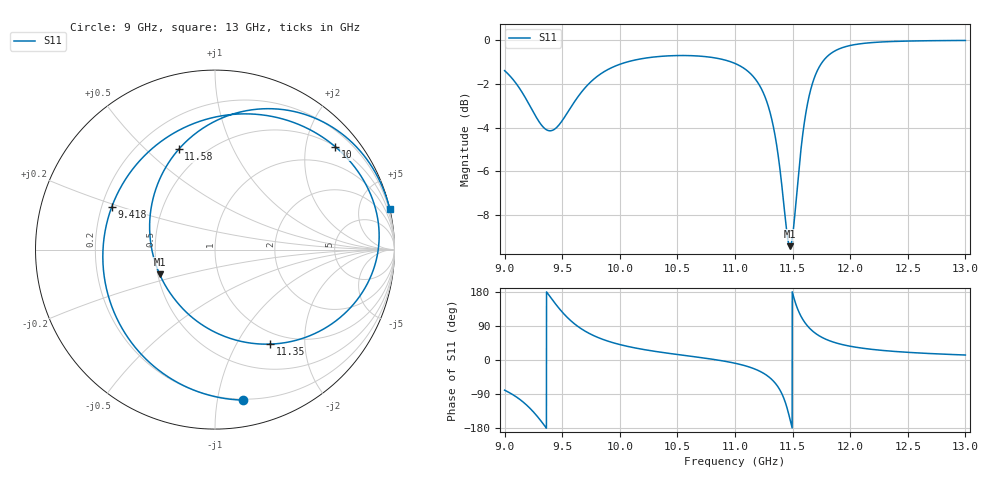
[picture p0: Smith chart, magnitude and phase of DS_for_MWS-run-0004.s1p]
! TOUCHSTONE file generated by CST DESIGN STUDIO
! Date and time: Tue Feb  4 14:21:41 2025
! Project name: C:\Work\MatlabApps\UnitCellOptimizationMatlab\CST\unitcell.cst
! Tree item: Tasks\Sweep1\SPara1\S-Parameters
! Header version: 2024
! Port assignment regex: !\s*Touchstone port\s*([0-9]+)\s*=\s*(CST MWS port|CST DES external port|CST DES block port)\s*(.+)\s* \(\"(.*)\"\)(\s*mode\s*([0-9]+))?.*
! Touchstone port assignment:
! Touchstone port 1 = CST DES external port 1 ("")
# GHz S MA R 50
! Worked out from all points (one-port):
!   4001 points, 9 GHz to 13 GHz, reference 50 ohm
!   lowest |S11| = -9.4 dB at 11.48 GHz (marker M1), VSWR 2.02, Z = 25.6 - j7.98 ohm
!   |S11| at or under -10 dB: nowhere
!   S11 on the Smith chart (normalised r, x): 9 GHz: 0.19, -1.18; 9.418 GHz: 0.24, +0.19; 10 GHz: 0.51, +2.63; 11.35 GHz: 0.83, -1.39; 11.58 GHz: 0.37, +0.64; 13 GHz: 0.03, +8.68
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9  0.8524 -79.6
9.109  0.7906 -98.9
9.201  0.7226 -121.7
9.318  0.6407 -161.8
9.418  0.6226 157.5
9.5  0.6548 126.6
9.584  0.7085 101.1
9.68  0.7684 79.6
9.829  0.8362 57.1
10  0.8813 40.8
10.004  0.8821 40.5
10.22  0.9103 27.0
10.5  0.9229 14.5
11  0.8852 -8.5
11.207  0.7934 -28.4
11.281  0.7172 -41.6
11.346  0.6088 -59.9
11.415  0.4433 -94.5
11.477  0.3378 -155.9
11.5  0.3567 176.4
11.538  0.4526 139.1
11.583  0.5943 109.9
11.659  0.7747 80.4
11.767  0.898 57.8
11.869  0.9463 45.8
12  0.9732 36.3
12.5  0.9961 20.2
13  0.9993 13.1
